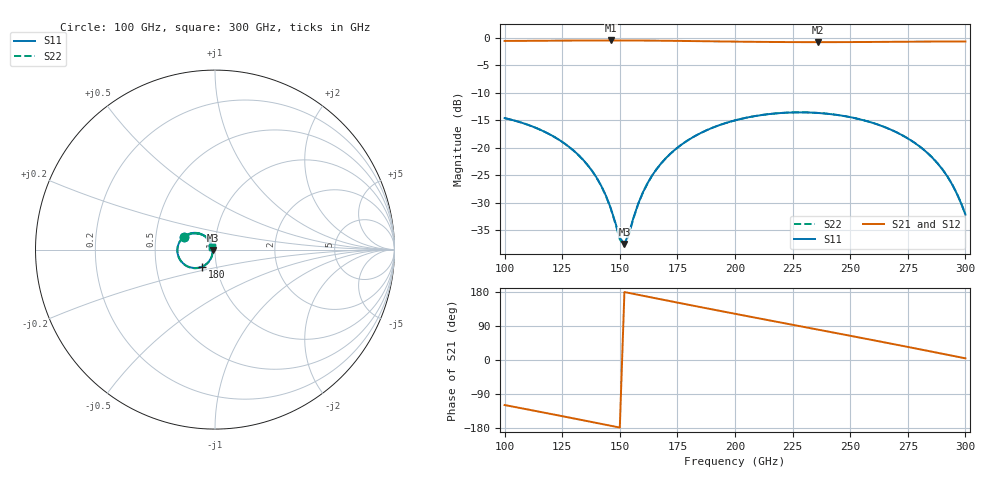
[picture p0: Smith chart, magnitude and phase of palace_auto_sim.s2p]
#  GHZ S DB R 50
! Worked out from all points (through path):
!   101 points, 100 GHz to 300 GHz, reference 50 ohm
!   highest |S21| = -0.51 dB at 146 GHz (marker M1); lowest = -0.8 dB at 236 GHz (marker M2)
!   group delay of S21, straight-line fit = 3.28 ps
!   lowest |S11| = -37.5 dB at 152 GHz (marker M3), VSWR 1.03, Z = 48.7 - j0.197 ohm
!   |S11| at or under -10 dB: start of sweep to end of sweep
!   |S22| runs from -37.9 to -13.6 dB; largest |S21 - S12| = 1.1e-14
!   S11 on the Smith chart (normalised r, x): 100 GHz: 0.70, +0.10; 180 GHz: 0.85, -0.16; 300 GHz: 0.96, +0.03
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100  -14.61 158.6  -0.60 -118.8  -0.60 -118.8  -14.61 158.7
120  -17.66 136.8  -0.56 -142.3  -0.56 -142.3  -17.66 136.8
128  -19.84 128.9  -0.54 -151.8  -0.54 -151.8  -19.84 128.9
134  -22.15 124.1  -0.52 -159.0  -0.52 -159.0  -22.16 124.0
140  -25.47 121.5  -0.52 -166.2  -0.52 -166.2  -25.49 121.2
146  -30.87 127.6  -0.51 -173.5  -0.51 -173.5  -30.96 126.9
150  -36.31 155.6  -0.52 -178.3  -0.52 -178.3  -36.62 154.8
152  -37.45 -171.3  -0.52 179.3  -0.52 179.3  -37.86 -170.6
160  -28.12 -116.9  -0.53 169.6  -0.53 169.6  -28.16 -115.6
164  -25.05 -115.6  -0.55 164.8  -0.55 164.8  -25.07 -114.6
168  -22.80 -117.2  -0.56 160.0  -0.56 160.0  -22.81 -116.3
180  -18.51 -127.2  -0.62 145.6  -0.62 145.6  -18.51 -126.5
200  -15.02 -147.9  -0.72 122.0  -0.72 122.0  -15.02 -147.2
218  -13.75 -167.1  -0.79 101.0  -0.79 101.0  -13.74 -166.4
234  -13.63 175.7  -0.82 82.5  -0.82 82.5  -13.62 176.4
236  -13.68 173.5  -0.82 80.2  -0.82 80.2  -13.67 174.3
252  -14.62 156.4  -0.80 61.6  -0.80 61.6  -14.61 157.3
268  -16.78 139.8  -0.76 42.8  -0.76 42.8  -16.77 140.8
280  -19.72 128.7  -0.73 28.5  -0.73 28.5  -19.70 129.8
288  -22.87 123.6  -0.71 18.9  -0.71 18.9  -22.84 124.8
294  -26.47 123.8  -0.70 11.7  -0.70 11.7  -26.42 125.2
300  -32.13 138.9  -0.70 4.4  -0.70 4.4  -32.00 140.6
